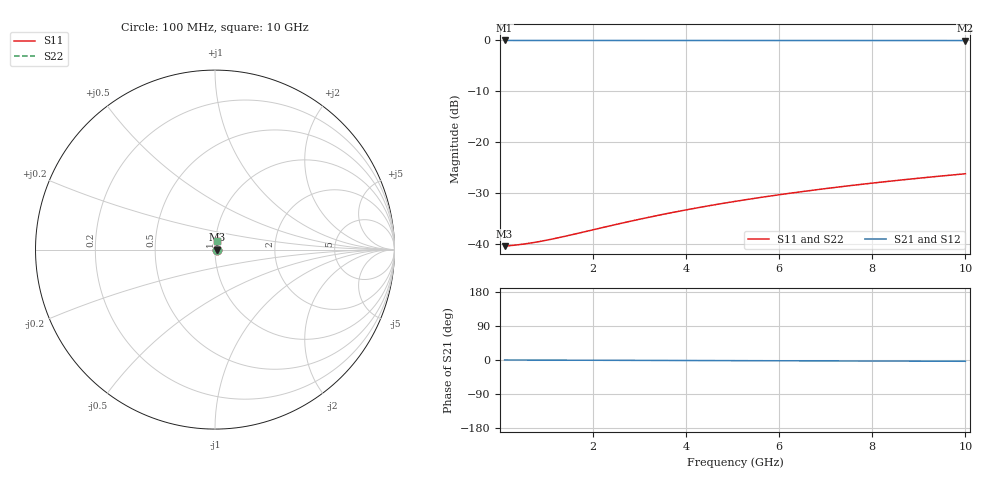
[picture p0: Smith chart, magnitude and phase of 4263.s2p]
# Hz S RI R 50.00
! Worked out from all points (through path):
!   100 points, 100 MHz to 10 GHz, reference 50 ohm
!   highest |S21| = -0.08 dB at 100 MHz (marker M1); lowest = -0.1 dB at 10 GHz (marker M2)
!   lowest |S11| = -40.5 dB at 100 MHz (marker M3), VSWR 1.02, Z = 51 + j0.0478 ohm
!   |S11| at or under -10 dB: start of sweep to end of sweep
!   |S22| runs from -40.5 to -26.3 dB; largest |S21 - S12| = 0
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1e8  0.00942 0.000469  0.9906 -0.000582  0.9906 -0.000582  0.00942 0.000469
3e8  0.00953 0.00141  0.9905 -0.00174  0.9905 -0.00174  0.00953 0.00141
5e8  0.0096 0.00234  0.9904 -0.00291  0.9904 -0.00291  0.0096 0.00234
8e8  0.00968 0.00375  0.9903 -0.00465  0.9903 -0.00465  0.00968 0.00375
1e9  0.00973 0.00469  0.9903 -0.00581  0.9903 -0.00581  0.00973 0.00469
1.2e9  0.00978 0.00562  0.9902 -0.00698  0.9902 -0.00698  0.00978 0.00562
1.5e9  0.00984 0.00703  0.9902 -0.00872  0.9902 -0.00872  0.00984 0.00703
1.8e9  0.0099 0.00843  0.9901 -0.0105  0.9901 -0.0105  0.0099 0.00843
2.7e9  0.0101 0.0126  0.9899 -0.0157  0.9899 -0.0157  0.0101 0.0126
3.1e9  0.0102 0.0145  0.9898 -0.018  0.9898 -0.018  0.0102 0.0145
3.4e9  0.0103 0.0159  0.9897 -0.0198  0.9897 -0.0198  0.0103 0.0159
3.8e9  0.0104 0.0178  0.9896 -0.0221  0.9896 -0.0221  0.0104 0.0178
4.2e9  0.0105 0.0197  0.9895 -0.0244  0.9895 -0.0244  0.0105 0.0197
4.6e9  0.0106 0.0215  0.9894 -0.0267  0.9894 -0.0267  0.0106 0.0215
5.1e9  0.0108 0.0239  0.9892 -0.0296  0.9892 -0.0296  0.0108 0.0239
5.5e9  0.0109 0.0257  0.9891 -0.032  0.9891 -0.032  0.0109 0.0257
5.9e9  0.011 0.0276  0.9889 -0.0343  0.9889 -0.0343  0.011 0.0276
6.7e9  0.0114 0.0314  0.9886 -0.0389  0.9886 -0.0389  0.0114 0.0314
7.5e9  0.0117 0.0351  0.9883 -0.0436  0.9883 -0.0436  0.0117 0.0351
8.4e9  0.0121 0.0393  0.9878 -0.0488  0.9878 -0.0488  0.0121 0.0393
9.2e9  0.0125 0.043  0.9874 -0.0534  0.9874 -0.0534  0.0125 0.043
1e10  0.013 0.0468  0.9869 -0.0581  0.9869 -0.0581  0.013 0.0468
